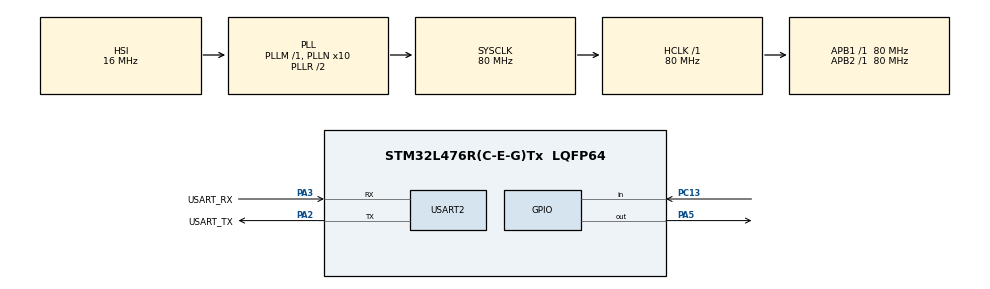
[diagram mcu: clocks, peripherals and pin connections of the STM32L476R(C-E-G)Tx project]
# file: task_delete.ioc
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FREERTOS.Tasks01=defaultTask,0,128,StartDefaultTask,Default,NULL,Dynamic,NULL,NULL
Mcu.Family=STM32L4
Mcu.Name=STM32L476R(C-E-G)Tx
Mcu.Package=LQFP64
NVIC.PriorityGroup=NVIC_PRIORITYGROUP_4
PA13\ (JTMS-SWDIO).GPIO_Label=TMS
PA13\ (JTMS-SWDIO).Mode=Serial_Wire
PA13\ (JTMS-SWDIO).Signal=SYS_JTMS-SWDIO
PA14\ (JTCK-SWCLK).GPIO_Label=TCK
PA14\ (JTCK-SWCLK).Mode=Serial_Wire
PA14\ (JTCK-SWCLK).Signal=SYS_JTCK-SWCLK
PA2.GPIO_Label=USART_TX
PA2.GPIO_Mode=GPIO_MODE_AF_PP
PA2.GPIO_PuPd=GPIO_NOPULL
PA2.GPIO_Speed=GPIO_SPEED_FREQ_VERY_HIGH
PA2.Mode=Asynchronous
PA2.Signal=USART2_TX
PA3.GPIO_Label=USART_RX
PA3.GPIO_Mode=GPIO_MODE_AF_PP
PA3.GPIO_PuPd=GPIO_NOPULL
PA3.GPIO_Speed=GPIO_SPEED_FREQ_VERY_HIGH
PA3.Mode=Asynchronous
PA3.Signal=USART2_RX
PA5.Signal=GPIO_Output
PB3\ (JTDO-TRACESWO).GPIO_Label=SWO
PB3\ (JTDO-TRACESWO).Signal=SYS_JTDO-SWO
PC13.Signal=GPIO_Input
PC14-OSC32_IN\ (PC14).Mode=LSE-External-Oscillator
PC14-OSC32_IN\ (PC14).Signal=RCC_OSC32_IN
PC15-OSC32_OUT\ (PC15).Mode=LSE-External-Oscillator
PC15-OSC32_OUT\ (PC15).Signal=RCC_OSC32_OUT
PH0-OSC_IN\ (PH0).Signal=RCC_OSC_IN
PH1-OSC_OUT\ (PH1).Signal=RCC_OSC_OUT
ProjectManager.HeapSize=0x200
ProjectManager.StackSize=0x400
ProjectManager.TargetToolchain=STM32CubeIDE
RCC.ADCFreq_Value=64000000
RCC.AHBFreq_Value=80000000
RCC.APB1Freq_Value=80000000
RCC.APB1TimFreq_Value=80000000
RCC.APB2Freq_Value=80000000
RCC.APB2TimFreq_Value=80000000
RCC.CortexFreq_Value=80000000
RCC.HCLKFreq_Value=80000000
RCC.HSE_VALUE=8000000
RCC.HSI_VALUE=16000000
RCC.MSI_VALUE=4000000
RCC.PLLN=10
RCC.PLLSourceVirtual=RCC_PLLSOURCE_HSI
RCC.PREFETCH_ENABLE=1
RCC.SYSCLKFreq_VALUE=80000000
RCC.SYSCLKSource=RCC_SYSCLKSOURCE_PLLCLK
RCC.USBFreq_Value=64000000
RCC.VCOOutputFreq_Value=160000000
USART2.VirtualMode-Asynchronous=VM_ASYNC
VP_FREERTOS_VS_CMSIS_V1.Mode=CMSIS_V1
board=NUCLEO-L476RG

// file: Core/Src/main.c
/* USER CODE BEGIN Header */
/**
  ******************************************************************************
  * @file           : main.c
  * @brief          : Main program body
  ******************************************************************************
  * @attention
  *
  * Copyright (c) 2025 STMicroelectronics.
  * All rights reserved.
  *
  * This software is licensed under terms that can be found in the LICENSE file
  * in the root directory of this software component.
  * If no LICENSE file comes with this software, it is provided AS-IS.
  *
  ******************************************************************************
  */
/* USER CODE END Header */
#include "main.h"
#include "cmsis_os.h"

/* USER CODE BEGIN Includes */
#include<string.h>  // string function is used strlen()
/* USER CODE END Includes */

UART_HandleTypeDef huart2;  //handle for USART2

osThreadId defaultTaskHandle;//handle for default task
/* USER CODE BEGIN PV */
TaskHandle_t xTaskHandle1 = NULL;   // handle (reference) for Task 1
TaskHandle_t xTaskHandle2 = NULL;   // handle (reference) for Task 2
/* USER CODE END PV */

void SystemClock_Config(void);
static void MX_GPIO_Init(void);
static void MX_USART2_UART_Init(void);
void StartDefaultTask(void const * argument);

/* USER CODE BEGIN 0 */
// Function to send a string message over UART2
void uart_msg(char *s)
{
	HAL_UART_Transmit(&huart2, (uint8_t *)s, strlen(s), 1000);  // send string via UART
}

// Task 1 function
void task1(void *p)
{
	uart_msg("TASK-1 RUNNING\r\n");   // print message that task1 is running

	while(1)  // infinite loop for task
	{
		vTaskDelay(250);                        // delay
		HAL_GPIO_TogglePin(GPIOA, GPIO_PIN_5);  // toggle LED on PA5
	}
}

// Task 2 function
void task2(void *p)
{
	uart_msg("TASK-2 RUNNING\r\n");   // print message that task2 is running

	while(1)  // infinite loop for task
	{
		if(HAL_GPIO_ReadPin(GPIOC, GPIO_PIN_13))   // if button (PC13) is NOT pressed
		{
			//vTaskDelay(200);                     // delay
			HAL_GPIO_TogglePin(GPIOA, GPIO_PIN_5); // toggle LED on PA5
		}
		else  // if button is pressed
		{
			uart_msg("BUTTON press detected!\r\n");   // print message
			uart_msg("TASK-2 going to be deleted\r\n"); // notify before deleting
			vTaskDelete(NULL);   // delete this task itself
			uart_msg("TASK-2 DELETED\r\n");  // will NOT execute (task already deleted)
		}
	}
}

/* USER CODE END 0 */

int main(void)
{

  /* MCU Configuration--------------------------------------------------------*/

  /* Reset of all peripherals, Initializes the Flash interface and the Systick. */
  HAL_Init();

  /* Configure the system clock */
  SystemClock_Config();

  /* Initialize all configured peripherals */
  MX_GPIO_Init();
  MX_USART2_UART_Init();

  /* Create the thread(s) */
  /* definition and creation of defaultTask */
  osThreadDef(defaultTask, StartDefaultTask, osPriorityNormal, 0, 128);
  defaultTaskHandle = osThreadCreate(osThread(defaultTask), NULL);
  uart_msg("SIMPLE TASK DELETE DEMOSTRATION PROGRAM\r\n");  // just a descriprion about program
  /* USER CODE BEGIN RTOS_THREADS */
  xTaskCreate(task1, "TASK1",500, NULL,1, &xTaskHandle1);   // creating task 1
  if(xTaskCreate(task2, "TASK2",configMINIMAL_STACK_SIZE, NULL,2, &xTaskHandle2)!=pdPASS)  //creating task 2 and checking if creation is successful or not
  {
	  uart_msg("TASK-2 NOT CREATED\r\n");// Print message if task not created
  }
  /* USER CODE END RTOS_THREADS */

  /* Start scheduler */
  osKernelStart();

  /* We should never get here as control is now taken by the scheduler */

  /* Infinite loop */
  while (1)
  {

  }
}

void SystemClock_Config(void)
{
  RCC_OscInitTypeDef RCC_OscInitStruct = {0};
  RCC_ClkInitTypeDef RCC_ClkInitStruct = {0};

  /** Configure the main internal regulator output voltage
  */
  if (HAL_PWREx_ControlVoltageScaling(PWR_REGULATOR_VOLTAGE_SCALE1) != HAL_OK)
  {
    Error_Handler();
  }

  /** Initializes the RCC Oscillators according to the specified parameters
  * in the RCC_OscInitTypeDef structure.
  */
  RCC_OscInitStruct.OscillatorType = RCC_OSCILLATORTYPE_HSI;
  RCC_OscInitStruct.HSIState = RCC_HSI_ON;
  RCC_OscInitStruct.HSICalibrationValue = RCC_HSICALIBRATION_DEFAULT;
  RCC_OscInitStruct.PLL.PLLState = RCC_PLL_ON;
  RCC_OscInitStruct.PLL.PLLSource = RCC_PLLSOURCE_HSI;
  RCC_OscInitStruct.PLL.PLLM = 1;
  RCC_OscInitStruct.PLL.PLLN = 10;
  RCC_OscInitStruct.PLL.PLLP = RCC_PLLP_DIV7;
  RCC_OscInitStruct.PLL.PLLQ = RCC_PLLQ_DIV2;
  RCC_OscInitStruct.PLL.PLLR = RCC_PLLR_DIV2;
  if (HAL_RCC_OscConfig(&RCC_OscInitStruct) != HAL_OK)
  {
    Error_Handler();
  }

  /** Initializes the CPU, AHB and APB buses clocks
  */
  RCC_ClkInitStruct.ClockType = RCC_CLOCKTYPE_HCLK|RCC_CLOCKTYPE_SYSCLK
                              |RCC_CLOCKTYPE_PCLK1|RCC_CLOCKTYPE_PCLK2;
  RCC_ClkInitStruct.SYSCLKSource = RCC_SYSCLKSOURCE_PLLCLK;
  RCC_ClkInitStruct.AHBCLKDivider = RCC_SYSCLK_DIV1;
  RCC_ClkInitStruct.APB1CLKDivider = RCC_HCLK_DIV1;
  RCC_ClkInitStruct.APB2CLKDivider = RCC_HCLK_DIV1;

  if (HAL_RCC_ClockConfig(&RCC_ClkInitStruct, FLASH_LATENCY_4) != HAL_OK)
  {
    Error_Handler();
  }
}

static void MX_USART2_UART_Init(void)
{

  huart2.Instance = USART2;
  huart2.Init.BaudRate = 115200;
  huart2.Init.WordLength = UART_WORDLENGTH_8B;
  huart2.Init.StopBits = UART_STOPBITS_1;
  huart2.Init.Parity = UART_PARITY_NONE;
  huart2.Init.Mode = UART_MODE_TX_RX;
  huart2.Init.HwFlowCtl = UART_HWCONTROL_NONE;
  huart2.Init.OverSampling = UART_OVERSAMPLING_16;
  huart2.Init.OneBitSampling = UART_ONE_BIT_SAMPLE_DISABLE;
  huart2.AdvancedInit.AdvFeatureInit = UART_ADVFEATURE_NO_INIT;
  if (HAL_UART_Init(&huart2) != HAL_OK)
  {
    Error_Handler();
  }

}

static void MX_GPIO_Init(void)
{
  GPIO_InitTypeDef GPIO_InitStruct = {0};

  /* GPIO Ports Clock Enable */
  __HAL_RCC_GPIOC_CLK_ENABLE();
  __HAL_RCC_GPIOH_CLK_ENABLE();
  __HAL_RCC_GPIOA_CLK_ENABLE();
  __HAL_RCC_GPIOB_CLK_ENABLE();

  /*Configure GPIO pin Output Level */
  HAL_GPIO_WritePin(GPIOA, GPIO_PIN_5, GPIO_PIN_RESET);

  /*Configure GPIO pin : PC13 */
  GPIO_InitStruct.Pin = GPIO_PIN_13;
  GPIO_InitStruct.Mode = GPIO_MODE_INPUT;
  GPIO_InitStruct.Pull = GPIO_NOPULL;
  HAL_GPIO_Init(GPIOC, &GPIO_InitStruct);

  /*Configure GPIO pin : PA5 */
  GPIO_InitStruct.Pin = GPIO_PIN_5;
  GPIO_InitStruct.Mode = GPIO_MODE_OUTPUT_PP;
  GPIO_InitStruct.Pull = GPIO_NOPULL;
  GPIO_InitStruct.Speed = GPIO_SPEED_FREQ_LOW;
  HAL_GPIO_Init(GPIOA, &GPIO_InitStruct);

}

void StartDefaultTask(void const * argument)
{
  for(;;)
  {
    osDelay(1);
  }
}

void Error_Handler(void)
{
  __disable_irq();
  while (1)
  {
  }
}
